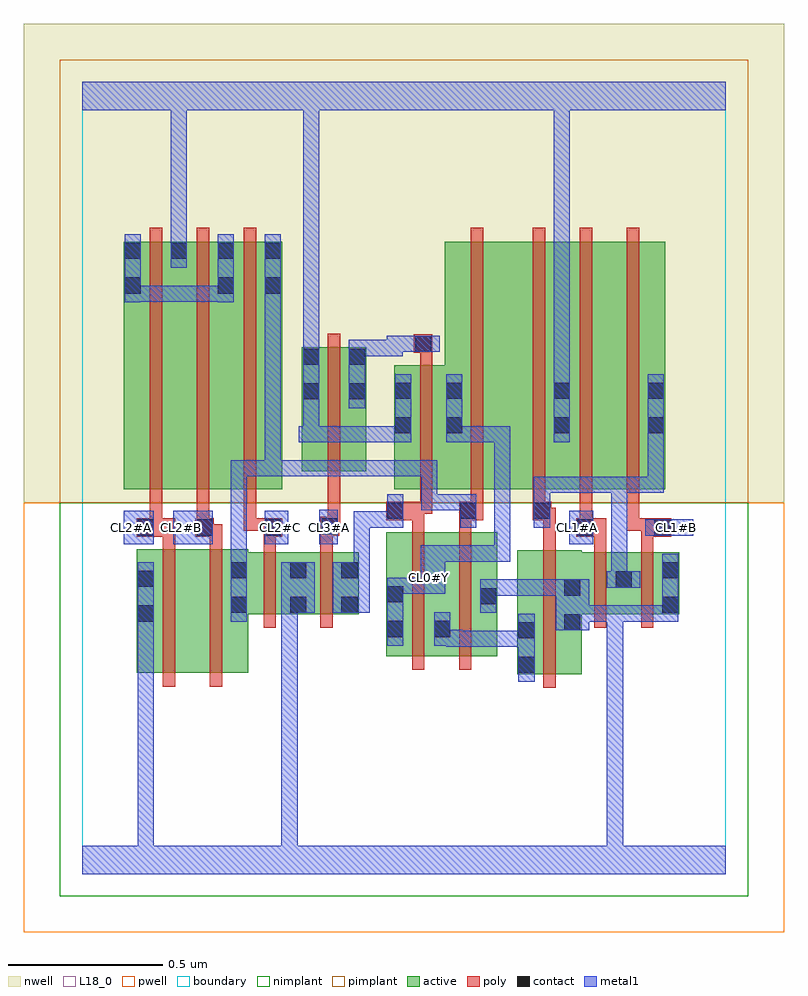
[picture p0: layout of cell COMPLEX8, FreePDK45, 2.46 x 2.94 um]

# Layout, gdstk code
import gdstk
lib = gdstk.Library(unit=1e-6, precision=1e-09)
def R(c, l, rs):  # rectangles x0, y0, x1, y1
    for r in rs: c.add(gdstk.rectangle(r[:2], r[2:], *l))
def A(c, l, x, y, w, h, nx, ny, dx, dy):  # array of equal rectangles
    R(c, l, [(x+i*dx, y+j*dy, x+i*dx+w, y+j*dy+h) for i in range(nx) for j in range(ny)])
active = (1, 0)
pwell = (2, 0)
nwell = (3, 0)
nimplant = (4, 0)
pimplant = (5, 0)
poly = (9, 0)
contact = (10, 0)
metal1 = (11, 0)
L18_0 = (18, 0)
boundary = (235, 0)

complex8 = lib.new_cell('COMPLEX8')
R(complex8, active, [(1.406,0.646,1.614,1.046), (1.406,0.646,1.466,1.046), (1.554,0.646,1.614,0.956), (0.176,0.65,0.356,1.05), (0.356,0.65,0.536,1.05), (0.476,0.65,0.536,1.04), (0.982,0.704,1.194,1.104), (1.134,0.704,1.342,1.104), (1.134,0.704,1.194,0.822), (0.176,0.756,0.236,1.05), (0.982,0.756,1.042,1.104), (1.282,0.756,1.342,1.104), (0.476,0.84,0.728,1.04), (0.668,0.84,0.728,1.04), (0.668,0.84,0.894,1.04), (0.834,0.84,0.894,1.04), (1.554,0.84,1.78,1.04), (1.72,0.84,1.93,1.04), (1.87,0.84,1.93,1.04), (1.72,0.922,1.78,0.982), (0.134,1.244,0.194,2.044), (0.134,1.244,0.342,2.044), (0.282,1.244,0.494,2.044), (0.434,1.244,0.646,2.044), (0.586,1.244,0.646,2.044), (1.008,1.244,1.068,1.644), (1.008,1.244,1.232,1.644), (1.172,1.244,1.352,2.044), (1.172,1.244,1.232,1.656), (1.352,1.244,1.58,2.044), (1.52,1.244,1.58,2.044), (1.52,1.244,1.704,2.044), (1.704,1.244,1.884,2.044), (1.824,1.244,1.884,2.044), (0.71,1.302,0.918,1.702), (0.71,1.302,0.77,1.702), (0.858,1.302,0.918,1.702), (0.282,1.686,0.342,2.044), (0.434,1.686,0.494,2.044)])
R(complex8, pwell, [(-0.188,-0.188,2.268,1.2)])
R(complex8, nwell, [(-0.188,1.2,2.268,2.748)])
R(complex8, nimplant, [(-0.072,-0.072,2.152,1.2)])
R(complex8, pimplant, [(-0.072,1.2,2.152,2.632)])
A(complex8, poly, 0.218, 1.11, 0.04, 0.13, 3, 1, 0.152, 0)
A(complex8, poly, 0.218, 1.2, 0.04, 0.888, 3, 1, 0.152, 0)
A(complex8, poly, 1.456, 1.2, 0.04, 0.888, 3, 1, 0.152, 0)
R(complex8, poly, [(1.49,0.602,1.53,1.09), (0.26,0.606,0.3,1.094), (0.412,0.606,0.452,1.094), (1.066,0.66,1.106,1.148), (1.218,0.66,1.258,1.148), (0.586,0.796,0.626,1.084), (0.77,0.796,0.81,1.084), (1.654,0.796,1.694,1.084), (1.806,0.796,1.846,1.084), (0.586,1.044,0.626,1.13), (0.77,1.044,0.81,1.134), (1.654,1.044,1.694,1.13), (1.806,1.044,1.846,1.13), (1.49,1.05,1.53,1.184), (0.26,1.054,0.3,1.13), (0.412,1.054,0.452,1.13), (0.176,1.09,0.3,1.15), (0.366,1.09,0.426,1.15), (0.386,1.09,0.426,1.13), (0.386,1.09,0.452,1.13), (0.586,1.09,0.646,1.15), (1.596,1.09,1.694,1.15), (1.806,1.09,1.904,1.15), (0.77,1.094,0.83,1.154), (1.066,1.108,1.106,1.184), (1.218,1.108,1.258,1.184), (0.218,1.11,0.258,1.15), (0.218,1.11,0.258,1.15), (0.522,1.11,0.626,1.15), (0.586,1.11,0.626,1.15), (1.608,1.11,1.648,1.24), (1.608,1.11,1.648,1.15), (1.608,1.11,1.648,1.15), (1.76,1.11,1.8,1.24), (1.76,1.11,1.846,1.15), (1.806,1.11,1.846,1.15), (0.79,1.114,0.83,1.154), (0.79,1.114,0.834,1.154), (0.794,1.114,0.834,1.298), (0.982,1.144,1.106,1.204), (1.218,1.144,1.258,1.184), (1.218,1.144,1.258,1.184), (1.218,1.144,1.296,1.204), (1.456,1.144,1.516,1.204), (1.476,1.144,1.516,1.184), (1.476,1.144,1.53,1.184), (1.066,1.164,1.106,1.204), (1.066,1.164,1.132,1.204), (1.092,1.164,1.132,1.24), (1.256,1.164,1.296,1.24), (1.456,1.164,1.496,1.24), (1.092,1.2,1.132,1.688), (1.256,1.2,1.296,2.088), (0.794,1.258,0.834,1.746), (1.092,1.648,1.132,1.724), (1.072,1.684,1.132,1.744)])
A(complex8, contact, 0.286, 1.988, 0.052, 0.052, 3, 1, 0.152, 0)
R(complex8, contact, [(1.41,0.65,1.462,0.702), (1.41,0.762,1.462,0.814), (0.986,0.766,1.038,0.818), (1.138,0.766,1.19,0.818), (1.558,0.788,1.61,0.84), (0.18,0.816,0.232,0.868), (0.48,0.844,0.532,0.896), (0.672,0.844,0.724,0.896), (0.838,0.844,0.89,0.896), (1.874,0.844,1.926,0.896), (1.286,0.872,1.338,0.924), (0.986,0.878,1.038,0.93), (1.558,0.9,1.61,0.952), (1.724,0.926,1.776,0.978), (0.18,0.928,0.232,0.98), (0.48,0.956,0.532,1.008), (0.672,0.956,0.724,1.008), (0.838,0.956,0.89,1.008), (1.874,0.956,1.926,1.008), (0.18,1.094,0.232,1.146), (0.37,1.094,0.422,1.146), (0.59,1.094,0.642,1.146), (1.6,1.094,1.652,1.146), (1.848,1.094,1.9,1.146), (0.774,1.098,0.826,1.15), (0.986,1.148,1.038,1.2), (1.222,1.148,1.274,1.2), (1.46,1.148,1.512,1.2), (1.012,1.424,1.064,1.476), (1.176,1.424,1.228,1.476), (1.524,1.424,1.576,1.476), (1.828,1.424,1.88,1.476), (0.714,1.534,0.766,1.586), (0.862,1.534,0.914,1.586), (1.012,1.536,1.064,1.588), (1.176,1.536,1.228,1.588), (1.524,1.536,1.576,1.588), (1.828,1.536,1.88,1.588), (0.714,1.646,0.766,1.698), (0.862,1.646,0.914,1.698), (1.076,1.688,1.128,1.74), (0.138,1.876,0.19,1.928), (0.438,1.876,0.49,1.928), (0.59,1.876,0.642,1.928), (0.138,1.988,0.19,2.04)])
A(complex8, metal1, 0.48, 1.286, 0.052, 0.052, 3, 1, 0.11, 0)
A(complex8, metal1, 0.48, 1.286, 0.162, 0.052, 3, 1, 0.11, 0)
R(complex8, metal1, [(0,0,2.08,0.092), (0.18,0.04,0.232,0.092), (0.18,0.04,0.232,0.092), (0.18,0.04,0.232,0.092), (0.18,0.04,0.232,0.092), (0.18,0.04,0.232,0.092), (0.18,0.04,0.232,0.092), (0.18,0.04,0.232,0.092), (0.18,0.04,0.232,0.092), (0.18,0.04,0.232,0.092), (0.18,0.04,0.232,0.092), (0.18,0.04,0.232,0.092), (0.18,0.04,0.232,0.092), (0.18,0.04,0.232,0.84), (0.644,0.04,0.696,0.896), (1.696,0.04,1.748,0.092), (1.696,0.04,1.748,0.092), (1.696,0.04,1.748,0.092), (1.696,0.04,1.748,0.092), (1.696,0.04,1.748,0.092), (1.696,0.04,1.748,0.092), (1.696,0.04,1.748,0.092), (1.696,0.04,1.748,0.092), (1.696,0.04,1.748,0.868), (1.41,0.622,1.462,0.842), (1.176,0.734,1.338,0.786), (1.176,0.734,1.228,0.79), (1.286,0.734,1.338,0.786), (1.286,0.734,1.462,0.786), (0.986,0.738,1.038,0.958), (1.138,0.738,1.19,0.846), (1.138,0.738,1.228,0.79), (0.18,0.788,0.232,1.008), (1.53,0.788,1.638,0.952), (0.48,0.816,0.532,1.036), (1.586,0.816,1.748,0.868), (1.696,0.816,1.748,0.868), (1.696,0.816,1.748,0.868), (1.696,0.816,1.748,0.868), (1.696,0.816,1.748,0.868), (1.696,0.816,1.748,0.868), (1.696,0.816,1.748,0.868), (1.696,0.816,1.748,0.868), (1.696,0.816,1.748,0.868), (1.696,0.816,1.748,0.868), (1.696,0.816,1.748,0.868), (1.696,0.816,1.748,0.868), (1.696,0.816,1.926,0.868), (1.874,0.816,1.926,1.036), (1.874,0.816,1.926,0.868), (1.874,0.816,1.926,0.868), (0.644,0.844,0.696,0.896), (0.644,0.844,0.696,0.896), (0.644,0.844,0.696,0.896), (0.644,0.844,0.696,0.896), (0.644,0.844,0.696,0.896), (0.644,0.844,0.696,0.896), (0.644,0.844,0.696,0.896), (0.644,0.844,0.696,0.896), (0.644,0.844,0.696,0.896), (0.644,0.844,0.696,0.896), (0.644,0.844,0.696,0.896), (0.644,0.844,0.696,0.896), (0.644,0.844,0.696,0.896), (0.644,0.844,0.696,0.896), (0.644,0.844,0.696,0.896), (0.644,0.844,0.696,0.896), (0.644,0.844,0.752,1.008), (0.81,0.844,0.93,1.008), (1.286,0.844,1.338,0.952), (1.286,0.9,1.402,0.952), (1.35,0.9,1.402,0.952), (1.35,0.9,1.516,0.952), (1.464,0.9,1.516,0.952), (1.464,0.9,1.582,0.952), (1.53,0.9,1.582,0.952), (1.53,0.9,1.582,0.952), (0.986,0.906,1.064,0.958), (1.012,0.906,1.064,0.958), (1.012,0.906,1.148,0.958), (1.094,0.906,1.174,1.062), (1.096,0.906,1.148,0.958), (1.096,0.906,1.148,0.958), (1.696,0.926,1.804,0.978), (1.71,0.926,1.762,0.978), (1.71,0.926,1.762,0.978), (1.71,0.926,1.762,1.284), (0.878,0.956,0.93,1.172), (0.48,0.984,0.532,1.338), (1.122,1.01,1.174,1.062), (1.122,1.01,1.174,1.062), (1.122,1.01,1.384,1.062), (1.332,1.01,1.384,1.062), (1.332,1.01,1.384,1.448), (0.134,1.066,0.232,1.174), (0.294,1.066,0.422,1.174), (0.59,1.066,0.666,1.174), (0.766,1.066,0.826,1.178), (1.574,1.066,1.652,1.174), (1.82,1.094,1.974,1.146), (0.878,1.12,0.93,1.172), (0.878,1.12,1.036,1.172), (0.984,1.12,1.036,1.172), (0.984,1.12,1.038,1.172), (0.986,1.12,1.038,1.228), (1.222,1.12,1.274,1.228), (1.46,1.12,1.512,1.228), (1.096,1.176,1.274,1.228), (1.096,1.176,1.148,1.338), (1.46,1.176,1.512,1.228), (1.46,1.176,1.512,1.284), (1.46,1.232,1.762,1.284), (1.71,1.232,1.762,1.284), (1.71,1.232,1.762,1.284), (1.71,1.232,1.762,1.284), (1.71,1.232,1.88,1.284), (1.828,1.232,1.88,1.448), (1.828,1.232,1.88,1.284), (1.828,1.232,1.88,1.284), (1.828,1.232,1.88,1.284), (0.48,1.286,0.532,1.338), (0.48,1.286,0.532,1.338), (0.48,1.286,0.532,1.338), (0.48,1.286,0.532,1.338), (0.59,1.286,0.642,1.9), (0.7,1.286,0.752,1.338), (0.7,1.286,0.752,1.338), (0.81,1.286,0.862,1.338), (0.81,1.286,1.036,1.338), (0.984,1.286,1.036,1.338), (0.984,1.286,1.064,1.338), (1.012,1.286,1.064,1.338), (1.012,1.286,1.148,1.338), (0.7,1.396,0.752,1.448), (0.7,1.396,0.752,1.448), (0.7,1.396,0.752,1.448), (0.7,1.396,0.752,1.448), (0.7,1.396,0.876,1.448), (0.7,1.396,0.766,1.448), (0.714,1.396,0.766,1.448), (0.714,1.396,0.766,1.448), (0.714,1.396,0.766,1.558), (0.824,1.396,0.876,1.448), (0.824,1.396,1.064,1.448), (1.012,1.396,1.064,1.616), (1.176,1.396,1.228,1.616), (1.176,1.396,1.228,1.448), (1.176,1.396,1.228,1.448), (1.176,1.396,1.384,1.448), (1.332,1.396,1.384,1.448), (1.332,1.396,1.384,1.448), (1.332,1.396,1.384,1.448), (1.524,1.396,1.576,1.616), (1.828,1.396,1.88,1.616), (0.714,1.506,0.766,1.726), (0.862,1.506,0.914,1.726), (1.524,1.564,1.576,1.616), (1.524,1.564,1.576,1.616), (1.524,1.564,1.576,1.616), (1.524,1.564,1.576,1.616), (1.524,1.564,1.576,1.616), (1.524,1.564,1.576,1.616), (1.524,1.564,1.576,1.616), (1.524,1.564,1.576,1.616), (1.524,1.564,1.576,2.52), (0.714,1.674,0.766,1.726), (0.714,1.674,0.766,1.726), (0.714,1.674,0.766,1.726), (0.714,1.674,0.766,1.726), (0.714,1.674,0.766,1.726), (0.714,1.674,0.766,1.726), (0.714,1.674,0.766,1.726), (0.714,1.674,0.766,1.726), (0.714,1.674,0.766,1.726), (0.714,1.674,0.766,1.726), (0.714,1.674,0.766,1.726), (0.714,1.674,0.766,1.726), (0.714,1.674,0.766,1.726), (0.714,1.674,0.766,1.726), (0.714,1.674,0.766,1.726), (0.714,1.674,0.766,1.726), (0.714,1.674,0.766,2.52), (0.862,1.674,1.036,1.726), (0.984,1.674,1.036,1.726), (0.984,1.674,1.036,1.74), (0.984,1.688,1.036,1.74), (0.984,1.688,1.1,1.74), (1.048,1.688,1.156,1.74), (0.138,1.848,0.19,2.068), (0.438,1.848,0.49,2.068), (0.59,1.848,0.642,2.068), (0.138,1.85,0.19,1.902), (0.138,1.85,0.19,1.902), (0.138,1.85,0.38,1.902), (0.328,1.85,0.38,1.902), (0.328,1.85,0.38,1.902), (0.328,1.85,0.38,1.902), (0.328,1.85,0.49,1.902), (0.286,1.96,0.338,2.068), (0.286,2.016,0.338,2.068), (0.286,2.016,0.338,2.068), (0.286,2.016,0.338,2.068), (0.286,2.016,0.338,2.068), (0.286,2.016,0.338,2.068), (0.286,2.016,0.338,2.068), (0.286,2.016,0.338,2.068), (0.286,2.016,0.338,2.068), (0.286,2.016,0.338,2.52), (0,2.468,2.08,2.56)])
R(complex8, L18_0, [(0,0,2.08,0.092), (0.18,0.04,0.232,0.092), (0.18,0.04,0.232,0.092), (0.18,0.04,0.232,0.092), (0.18,0.04,0.232,0.092), (0.18,0.04,0.232,0.092), (0.18,0.04,0.232,0.092), (0.18,0.04,0.232,0.092), (0.18,0.04,0.232,0.092), (0.18,0.04,0.232,0.092), (0.18,0.04,0.232,0.092), (0.18,0.04,0.232,0.092), (0.18,0.04,0.232,0.092), (0.18,0.04,0.232,0.84), (0.644,0.04,0.696,0.896), (1.696,0.04,1.748,0.092), (1.696,0.04,1.748,0.092), (1.696,0.04,1.748,0.092), (1.696,0.04,1.748,0.092), (1.696,0.04,1.748,0.092), (1.696,0.04,1.748,0.092), (1.696,0.04,1.748,0.092), (1.696,0.04,1.748,0.092), (1.696,0.04,1.748,0.868), (0.986,0.738,1.038,0.958), (0.18,0.788,0.232,1.008), (1.53,0.788,1.638,0.952), (1.586,0.816,1.748,0.868), (1.696,0.816,1.748,0.868), (1.696,0.816,1.748,0.868), (1.696,0.816,1.748,0.868), (1.696,0.816,1.748,0.868), (1.696,0.816,1.748,0.868), (1.696,0.816,1.748,0.868), (1.696,0.816,1.748,0.868), (1.696,0.816,1.748,0.868), (1.696,0.816,1.748,0.868), (1.696,0.816,1.748,0.868), (1.696,0.816,1.748,0.868), (1.696,0.816,1.926,0.868), (1.874,0.816,1.926,0.868), (1.874,0.816,1.926,0.868), (1.874,0.816,1.926,1.036), (0.644,0.844,0.696,0.896), (0.644,0.844,0.696,0.896), (0.644,0.844,0.696,0.896), (0.644,0.844,0.696,0.896), (0.644,0.844,0.696,0.896), (0.644,0.844,0.696,0.896), (0.644,0.844,0.696,0.896), (0.644,0.844,0.696,0.896), (0.644,0.844,0.696,0.896), (0.644,0.844,0.696,0.896), (0.644,0.844,0.696,0.896), (0.644,0.844,0.696,0.896), (0.644,0.844,0.696,0.896), (0.644,0.844,0.696,0.896), (0.644,0.844,0.696,0.896), (0.644,0.844,0.696,0.896), (0.644,0.844,0.752,1.008), (1.286,0.844,1.338,0.952), (1.286,0.9,1.402,0.952), (1.35,0.9,1.402,0.952), (1.35,0.9,1.516,0.952), (1.464,0.9,1.516,0.952), (1.464,0.9,1.582,0.952), (1.53,0.9,1.582,0.952), (1.53,0.9,1.582,0.952), (0.986,0.906,1.064,0.958), (1.012,0.906,1.064,0.958), (1.012,0.906,1.148,0.958), (1.094,0.906,1.174,1.062), (1.096,0.906,1.148,0.958), (1.096,0.906,1.148,0.958), (1.094,0.934,1.146,0.986), (1.122,1.01,1.174,1.062), (1.122,1.01,1.174,1.062), (1.122,1.01,1.384,1.062), (1.332,1.01,1.384,1.062), (1.332,1.01,1.384,1.448), (0.134,1.066,0.232,1.174), (0.294,1.066,0.422,1.174), (0.59,1.066,0.666,1.174), (0.766,1.066,0.826,1.178), (1.574,1.066,1.652,1.174), (0.134,1.094,0.186,1.146), (0.294,1.094,0.346,1.146), (0.614,1.094,0.666,1.146), (0.774,1.094,0.826,1.146), (1.574,1.094,1.626,1.146), (1.82,1.094,1.974,1.146), (1.894,1.094,1.946,1.146), (0.7,1.396,0.752,1.448), (0.7,1.396,0.752,1.448), (0.7,1.396,0.752,1.448), (0.7,1.396,0.752,1.448), (0.7,1.396,0.766,1.448), (0.7,1.396,0.876,1.448), (0.714,1.396,0.766,1.448), (0.714,1.396,0.766,1.448), (0.714,1.396,0.766,1.558), (0.824,1.396,0.876,1.448), (0.824,1.396,1.064,1.448), (1.012,1.396,1.064,1.616), (1.176,1.396,1.228,1.448), (1.176,1.396,1.228,1.448), (1.176,1.396,1.228,1.616), (1.176,1.396,1.384,1.448), (1.332,1.396,1.384,1.448), (1.332,1.396,1.384,1.448), (1.332,1.396,1.384,1.448), (1.524,1.396,1.576,1.616), (0.714,1.506,0.766,1.726), (1.524,1.564,1.576,1.616), (1.524,1.564,1.576,1.616), (1.524,1.564,1.576,1.616), (1.524,1.564,1.576,1.616), (1.524,1.564,1.576,1.616), (1.524,1.564,1.576,1.616), (1.524,1.564,1.576,1.616), (1.524,1.564,1.576,1.616), (1.524,1.564,1.576,2.52), (0.714,1.674,0.766,1.726), (0.714,1.674,0.766,1.726), (0.714,1.674,0.766,1.726), (0.714,1.674,0.766,1.726), (0.714,1.674,0.766,1.726), (0.714,1.674,0.766,1.726), (0.714,1.674,0.766,1.726), (0.714,1.674,0.766,1.726), (0.714,1.674,0.766,1.726), (0.714,1.674,0.766,1.726), (0.714,1.674,0.766,1.726), (0.714,1.674,0.766,1.726), (0.714,1.674,0.766,1.726), (0.714,1.674,0.766,1.726), (0.714,1.674,0.766,1.726), (0.714,1.674,0.766,1.726), (0.714,1.674,0.766,2.52), (0.286,1.96,0.338,2.068), (0.286,2.016,0.338,2.068), (0.286,2.016,0.338,2.068), (0.286,2.016,0.338,2.068), (0.286,2.016,0.338,2.068), (0.286,2.016,0.338,2.068), (0.286,2.016,0.338,2.068), (0.286,2.016,0.338,2.068), (0.286,2.016,0.338,2.068), (0.286,2.016,0.338,2.52), (0,2.468,2.08,2.56)])
R(complex8, boundary, [(0,0,2.08,2.56)])
complex8.add(gdstk.Label('CL0#Y', (1.12,0.96), layer=11, texttype=0))
complex8.add(gdstk.Label('CL1#A', (1.6,1.12), layer=11, texttype=0))
complex8.add(gdstk.Label('CL1#B', (1.92,1.12), layer=11, texttype=0))
complex8.add(gdstk.Label('CL2#A', (0.16,1.12), layer=11, texttype=0))
complex8.add(gdstk.Label('CL2#B', (0.32,1.12), layer=11, texttype=0))
complex8.add(gdstk.Label('CL2#C', (0.64,1.12), layer=11, texttype=0))
complex8.add(gdstk.Label('CL3#A', (0.8,1.12), layer=11, texttype=0))

lib.write_gds('COMPLEX8.gds')
